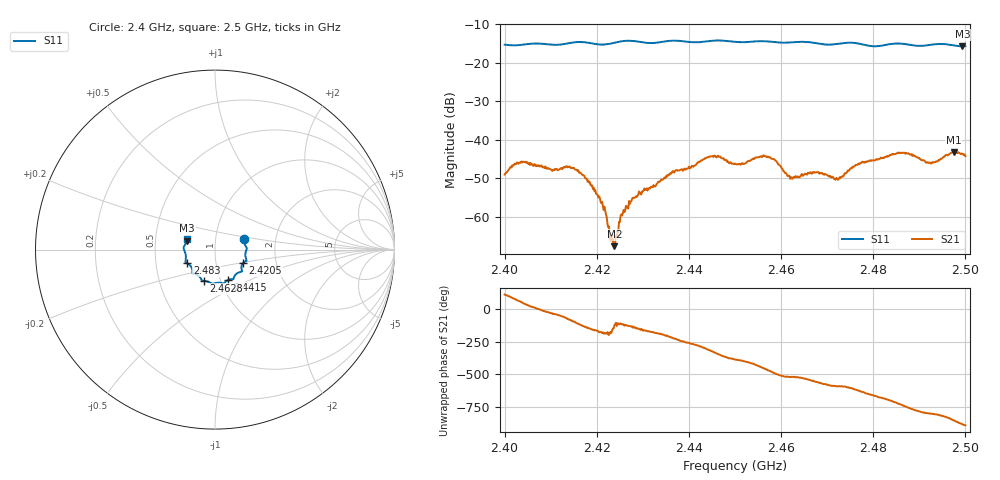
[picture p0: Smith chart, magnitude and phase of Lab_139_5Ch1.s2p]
# Hz S RI R 50
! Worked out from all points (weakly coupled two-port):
!   601 points, 2.4 GHz to 2.5 GHz, reference 50 ohm
!   highest |S21| = -43.20 dB at 2.4975 GHz (marker M1); lowest = -67.7 dB at 2.4238 GHz (marker M2)
!   lowest |S11| = -15.7 dB at 2.4993 GHz (marker M3), VSWR 1.39, Z = 36.4 + j3.67 ohm
!   |S11| at or under -10 dB: start of sweep to end of sweep
!   S12 and S22 are empty: the file has one direction only
!   S11 on the Smith chart (normalised r, x): 2.4 GHz: 1.38, +0.16; 2.4205 GHz: 1.35, -0.21; 2.4415 GHz: 1.09, -0.38; 2.4628 GHz: 0.83, -0.30; 2.483 GHz: 0.73, -0.11; 2.5 GHz: 0.73, +0.09
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2.4e9  0.1623 0.0563  -0.00132 0.00327  0 0  0 0
2.404167e9  0.1714 0.0179  0.00374 0.00358  0 0  0 0
2.416667e9  0.1752 -0.062  -0.00195 -0.00304  0 0  0 0
2.4205e9  0.1552 -0.0758  -0.00183 -0.00011  0 0  0 0
2.423333e9  0.1476 -0.1016  -0.000467 -0.000154  0 0  0 0
2.423833e9  0.1479 -0.1062  -0.00023 -0.000345  0 0  0 0
2.425333e9  0.1502 -0.1162  -0.000462 -0.000969  0 0  0 0
2.4275e9  0.1492 -0.1218  -0.00109 -0.00116  0 0  0 0
2.433333e9  0.1084 -0.1479  -0.00283 0.000347  0 0  0 0
2.4415e9  0.0734 -0.1691  0.000327 0.00469  0 0  0 0
2.445167e9  0.0512 -0.1863  0.0051 0.00341  0 0  0 0
2.45e9  0.0295 -0.1848  0.00442 -0.00214  0 0  0 0
2.456667e9  -0.0164 -0.1895  -0.001 -0.00603  0 0  0 0
2.462833e9  -0.0623 -0.1743  -0.00307 -0.00122  0 0  0 0
2.466667e9  -0.0754 -0.1671  -0.00358 0.000482  0 0  0 0
2.472e9  -0.1101 -0.136  -0.00199 0.00249  0 0  0 0
2.483e9  -0.1538 -0.0766  0.00543 0.00289  0 0  0 0
2.483333e9  -0.1561 -0.0753  0.00557 0.00252  0 0  0 0
2.4925e9  -0.1711 -0.00346  0.000861 -0.00482  0 0  0 0
2.4975e9  -0.1654 0.0289  -0.00456 -0.0052  0 0  0 0
2.499333e9  -0.1559 0.0492  -0.00625 -0.00205  0 0  0 0
2.5e9  -0.154 0.0577  -0.00605 -0.000984  0 0  0 0
